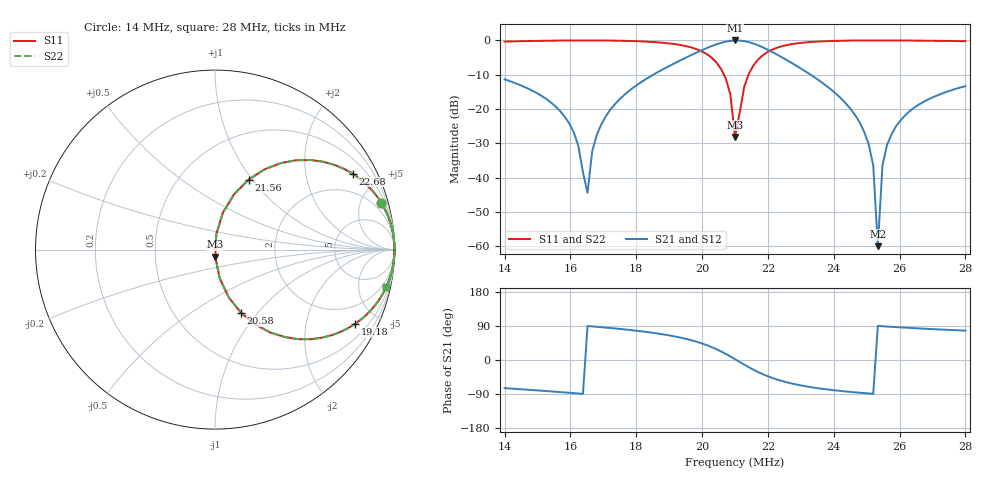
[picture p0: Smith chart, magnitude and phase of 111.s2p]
! RFSim95 S parameter simulation result
# MHz MA
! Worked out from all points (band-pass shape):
!   101 points, 14 MHz to 28 MHz, reference 50 ohm
!   highest |S21| = -0.01 dB at 21 MHz (marker M1); lowest = -60.0 dB at 25.34 MHz (marker M2)
!   |S21| within 3 dB of the highest: 19.95 MHz to 22.06 MHz (2.105 MHz wide, 10 % of centre)
!   lowest |S11| = -28.2 dB at 21 MHz (marker M3), VSWR 1.08, Z = 50 - j3.9 ohm
!   |S11| at or under -10 dB: 20.66 MHz to 21.41 MHz (747.1 kHz wide, 3.55 % of centre)
!   |S22| runs from -28.2 to 0.0 dB; largest |S21 - S12| = 0
!   S11 on the Smith chart (normalised r, x): 14 MHz: 0.99, +7.12; 19.18 MHz: 1.00, -3.76; 20.58 MHz: 1.00, -0.83; 21.56 MHz: 1.00, +0.96; 22.68 MHz: 1.00, +3.63; 28 MHz: 0.98, -9.07
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14  0.963 15.7  0.271 -74.3  0.271 -74.3  0.963 15.7
15.68  0.996 5.4  0.094 -84.6  0.094 -84.6  0.996 5.4
16.1  0.999 2.6  0.046 -87.4  0.046 -87.4  0.999 2.6
16.38  1 0.7  0.012 -89.3  0.012 -89.3  1 0.7
16.52  1 -0.3  0.006 89.7  0.006 89.7  1 -0.3
16.66  1 -1.3  0.024 88.7  0.024 88.7  1 -1.3
17.22  0.995 -5.7  0.099 84.3  0.099 84.3  0.995 -5.7
18.76  0.93 -21.6  0.368 68.4  0.368 68.4  0.93 -21.6
19.18  0.883 -28.0  0.469 62.0  0.469 62.0  0.883 -28.0
20.58  0.382 -67.5  0.924 22.5  0.924 22.5  0.382 -67.5
20.86  0.162 -80.7  0.987 9.3  0.987 9.3  0.162 -80.7
21  0.039 -87.8  0.999 2.2  0.999 2.2  0.039 -87.8
21.28  0.21 77.9  0.978 -12.1  0.978 -12.1  0.21 77.9
21.56  0.432 64.4  0.902 -25.6  0.902 -25.6  0.432 64.4
22.68  0.876 28.9  0.483 -61.1  0.483 -61.1  0.876 28.9
23.38  0.955 17.3  0.298 -72.7  0.298 -72.7  0.955 17.3
24.92  0.999 2.7  0.047 -87.3  0.047 -87.3  0.999 2.7
25.2  1 0.8  0.015 -89.2  0.015 -89.2  1 0.8
25.34  1 -0.0  0.001 90.0  0.001 90.0  1 -0.0
25.48  1 -0.9  0.015 89.1  0.015 89.1  1 -0.9
25.76  0.999 -2.5  0.043 87.5  0.043 87.5  0.999 -2.5
28  0.977 -12.4  0.215 77.6  0.215 77.6  0.977 -12.4
